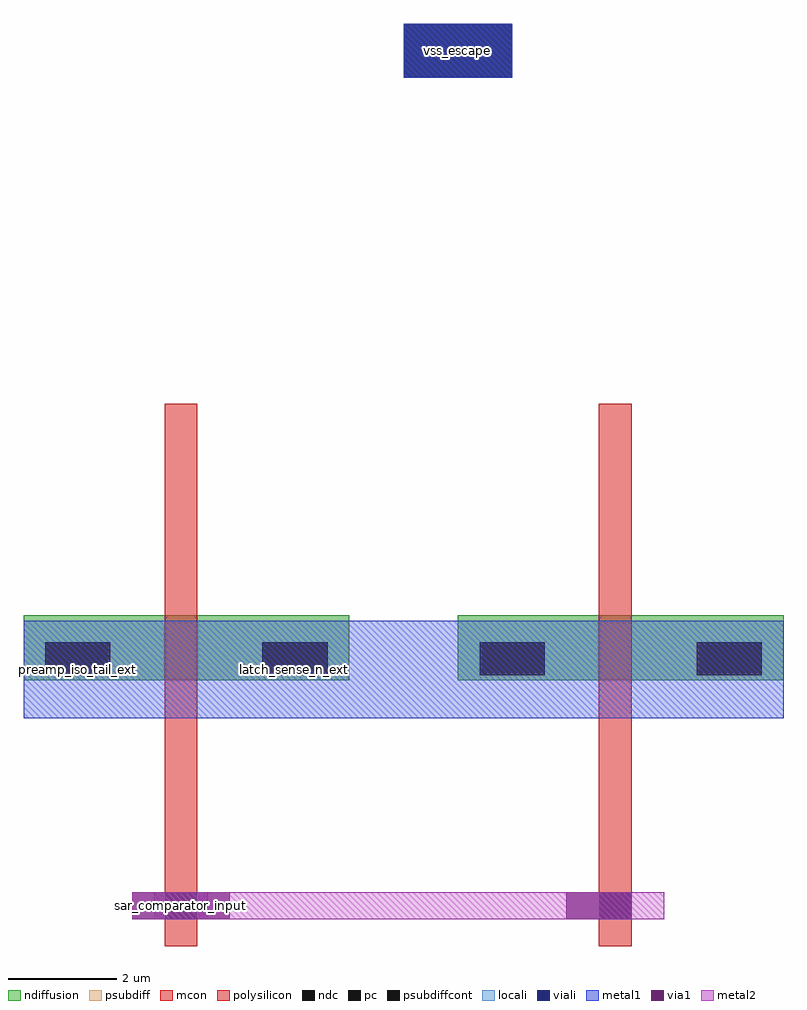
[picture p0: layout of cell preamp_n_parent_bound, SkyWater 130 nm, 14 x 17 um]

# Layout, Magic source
magic
tech sky130A
<< ndiffusion >>
rect 1100 690 1700 810
rect 300 690 900 810
<< polysilicon >>
rect 1360 200 1420 1200
rect 560 200 620 1200
<< ndc >>
rect 1140 700 1260 760
rect 1540 700 1660 760
rect 340 700 460 760
rect 740 700 860 760
<< mcon >>
rect 1140 700 1260 760
rect 1540 700 1660 760
rect 560 250 620 300
rect 340 700 460 760
rect 740 700 860 760
<< metal1 >>
rect 300 620 1300 800
rect 700 620 1700 800
rect 540 250 640 300
rect 300 620 500 800
rect 700 620 900 800
rect 1000 1800 1200 1900
<< metal2 >>
rect 500 250 1480 300
rect 500 250 680 300
<< via1 >>
rect 1300 250 1420 300
rect 500 250 680 300
<< pc >>
rect 1360 250 1420 300
rect 560 250 620 300
<< locali >>
rect 1360 250 1420 300
rect 560 250 620 300
<< psubdiff >>
rect 1000 1800 1200 1900
<< psubdiffcont >>
rect 1000 1800 1200 1900
<< viali >>
rect 1000 1800 1200 1900
<< labels >>
rlabel metal1 300 620 500 800 0 preamp_iso_tail_ext
port 1 nsew
rlabel metal1 700 620 900 800 0 latch_sense_n_ext
port 2 nsew
rlabel metal2 500 250 680 300 0 sar_comparator_input
port 3 nsew
rlabel metal1 1000 1800 1200 1900 0 vss_escape
port 4 nsew
<< end >>
